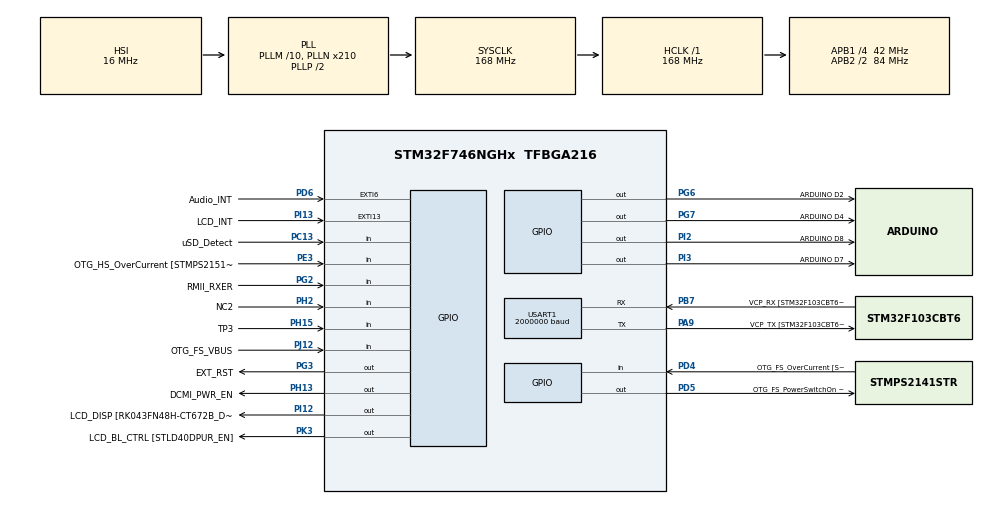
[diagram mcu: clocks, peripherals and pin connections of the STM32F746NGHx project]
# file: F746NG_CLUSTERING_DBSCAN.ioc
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Mcu.Family=STM32F7
Mcu.Name=STM32F746NGHx
Mcu.Package=TFBGA216
NVIC.PriorityGroup=NVIC_PRIORITYGROUP_4
PA0/WKUP.GPIO_Label=ARDUINO A0
PA0/WKUP.GPIO_Mode=GPIO_MODE_ANALOG
PA0/WKUP.GPIO_PuPd=GPIO_NOPULL
PA0/WKUP.Signal=ADCx_IN0
PA1.GPIO_Label=RMII_REF_CLK [LAN8742A-CZ-TR_REFCLK0]
PA1.Signal=ETH_REF_CLK
PA10.GPIO_Label=OTG_FS_ID
PA10.Signal=USB_OTG_FS_ID
PA11.GPIO_Label=OTG_FS_N
PA11.Signal=USB_OTG_FS_DM
PA12.GPIO_Label=OTG_FS_P
PA12.Signal=USB_OTG_FS_DP
PA13.GPIO_Label=SWDIO
PA13.Signal=SYS_JTMS-SWDIO
PA14.GPIO_Label=SWCLK
PA14.Signal=SYS_JTCK-SWCLK
PA15.GPIO_Label=ARDUINO PWM/D9
PA15.GPIO_ModeDefaultPP=GPIO_MODE_AF_PP
PA15.GPIO_PuPd=GPIO_NOPULL
PA15.GPIO_Speed=GPIO_SPEED_FREQ_LOW
PA15.Signal=S_TIM2_CH1_ETR
PA2.GPIO_Label=RMII_MDIO [LAN8742A-CZ-TR_MDIO]
PA2.Signal=ETH_MDIO
PA3.GPIO_Label=ULPI_D0 [USB3320C-EZK_D0]
PA3.Signal=USB_OTG_HS_ULPI_D0
PA4.GPIO_Label=DCMI_HSYNC
PA4.Signal=DCMI_HSYNC
PA5.GPIO_Label=ULPI_CLK [USB3320C-EZK_CLKOUT]
PA5.Signal=USB_OTG_HS_ULPI_CK
PA6.Signal=DCMI_PIXCLK
PA7.GPIO_Label=RMII_CRS_DV [LAN8742A-CZ-TR_CRS_DV]
PA7.Signal=ETH_CRS_DV
PA8.GPIO_Label=ARDUINO PWM/D10
PA8.GPIO_ModeDefaultPP=GPIO_MODE_AF_PP
PA8.GPIO_PuPd=GPIO_NOPULL
PA8.GPIO_Speed=GPIO_SPEED_FREQ_LOW
PA8.Signal=S_TIM1_CH1
PA9.GPIO_Label=VCP_TX [STM32F103CBT6_PA3]
PA9.GPIO_Mode=GPIO_MODE_AF_PP
PA9.GPIO_PuPd=GPIO_NOPULL
PA9.GPIO_Speed=GPIO_SPEED_FREQ_LOW
PA9.Mode=Asynchronous
PA9.Signal=USART1_TX
PB0.GPIO_Label=ULPI_D1 [USB3320C-EZK_D1]
PB0.Signal=USB_OTG_HS_ULPI_D1
PB1.GPIO_Label=ULPI_D2 [USB3320C-EZK_D2]
PB1.Signal=USB_OTG_HS_ULPI_D2
PB10.GPIO_Label=ULPI_D3 [USB3320C-EZK_D3]
PB10.Signal=USB_OTG_HS_ULPI_D3
PB11.GPIO_Label=ULPI_D4 [USB3320C-EZK_D4]
PB11.Signal=USB_OTG_HS_ULPI_D4
PB12.GPIO_Label=ULPI_D5 [USB3320C-EZK_D5]
PB12.Signal=USB_OTG_HS_ULPI_D5
PB13.GPIO_Label=ULPI_D6 [USB3320C-EZK_D6]
PB13.Signal=USB_OTG_HS_ULPI_D6
PB14.GPIO_Label=ARDUINO MISO/D12
PB14.GPIO_Mode=GPIO_MODE_AF_PP
PB14.GPIO_PuPd=GPIO_NOPULL
PB14.GPIO_Speed=GPIO_SPEED_FREQ_LOW
PB14.Signal=SPI2_MISO
PB15.GPIO_Label=ARDUINO MOSI/PWM/D11
PB15.GPIO_Mode=GPIO_MODE_AF_PP
PB15.GPIO_PuPd=GPIO_NOPULL
PB15.GPIO_Speed=GPIO_SPEED_FREQ_LOW
PB15.Signal=SPI2_MOSI
PB2.Signal=QUADSPI_CLK
PB3.GPIO_Label=SWO
PB3.Signal=SYS_JTDO-SWO
PB4.GPIO_Label=ARDUINO PWM/D3
PB4.GPIO_ModeDefaultPP=GPIO_MODE_AF_PP
PB4.GPIO_PuPd=GPIO_NOPULL
PB4.GPIO_Speed=GPIO_SPEED_FREQ_LOW
PB4.Signal=S_TIM3_CH1
PB5.GPIO_Label=ULPI_D7 [USB3320C-EZK_D7]
PB5.Signal=USB_OTG_HS_ULPI_D7
PB6.GPIO_Label=QSPI_NCS [N25Q128A13EF840E_S]
PB6.Signal=QUADSPI_BK1_NCS
PB7.GPIO_Label=VCP_RX [STM32F103CBT6_PA2]
PB7.GPIO_Mode=GPIO_MODE_AF_PP
PB7.GPIO_PuPd=GPIO_NOPULL
PB7.GPIO_Speed=GPIO_SPEED_FREQ_LOW
PB7.Mode=Asynchronous
PB7.Signal=USART1_RX
PB8.GPIO_Label=ARDUINO SCL/D15
PB8.GPIO_Mode=GPIO_MODE_AF_OD
PB8.GPIO_PuPd=GPIO_NOPULL
PB8.GPIO_Speed=GPIO_SPEED_FREQ_LOW
PB8.Signal=I2C1_SCL
PB9.GPIO_Label=ARDUINO SDA/D14
PB9.GPIO_Mode=GPIO_MODE_AF_OD
PB9.GPIO_PuPd=GPIO_NOPULL
PB9.GPIO_Speed=GPIO_SPEED_FREQ_LOW
PB9.Signal=I2C1_SDA
PC0.GPIO_Label=ULPI_STP [USB3320C-EZK_STP]
PC0.Signal=USB_OTG_HS_ULPI_STP
PC1.GPIO_Label=RMII_MDC [LAN8742A-CZ-TR_MDC]
PC1.Signal=ETH_MDC
PC10.GPIO_Label=SDMMC_D2
PC10.Signal=SDMMC1_D2
PC11.GPIO_Label=SDMMC_D3
PC11.Signal=SDMMC1_D3
PC12.GPIO_Label=SDMMC_CK
PC12.Signal=SDMMC1_CK
PC13.GPIO_Label=uSD_Detect
PC13.Signal=GPIO_Input
PC14/OSC32_IN.GPIO_Label=RCC_OSC32_IN
PC14/OSC32_IN.Signal=RCC_OSC32_IN
PC15/OSC32_OUT.GPIO_Label=RCC_OSC32_OUT
PC15/OSC32_OUT.Signal=RCC_OSC32_OUT
PC2.GPIO_Label=ULPI_DIR [USB3320C-EZK_DIR]
PC2.Signal=USB_OTG_HS_ULPI_DIR
PC3.GPIO_Label=FMC_SDCKE0 [MT48LC4M32B2B5-6A_CKE]
PC3.Signal=FMC_SDCKE0
PC4.GPIO_Label=RMII_RXD0 [LAN8742A-CZ-TR_RXD0]
PC4.Signal=ETH_RXD0
PC5.GPIO_Label=RMII_RXD1 [LAN8742A-CZ-TR_RXD1]
PC5.Signal=ETH_RXD1
PC6.GPIO_Label=ARDUINO TX/D1
PC6.Signal=USART6_TX
PC7.GPIO_Label=ARDUINO RX/D0
PC7.Signal=USART6_RX
PC8.Signal=SDMMC1_D0
PC9.Signal=SDMMC1_D1
PD0.GPIO_Label=FMC_D2 [MT48LC4M32B2B5-6A_DQ2]
PD0.Signal=FMC_D2_DA2
PD1.GPIO_Label=FMC_D3 [MT48LC4M32B2B5-6A_DQ3]
PD1.Signal=FMC_D3_DA3
PD10.GPIO_Label=FMC_D15 [MT48LC4M32B2B5-6A_DQ15]
PD10.Signal=FMC_D15_DA15
PD11.GPIO_Label=QSPI_D0 [N25Q128A13EF840E_DQ0]
PD11.Signal=QUADSPI_BK1_IO0
PD12.GPIO_Label=QSPI_D1 [N25Q128A13EF840E_DQ1]
PD12.Signal=QUADSPI_BK1_IO1
PD13.GPIO_Label=QSPI_D3 [N25Q128A13EF840E_DQ3]
PD13.Signal=QUADSPI_BK1_IO3
PD14.GPIO_Label=FMC_D0 [MT48LC4M32B2B5-6A_DQ0]
PD14.Signal=FMC_D0_DA0
PD15.GPIO_Label=FMC_D1 [MT48LC4M32B2B5-6A_DQ1]
PD15.Signal=FMC_D1_DA1
PD2.GPIO_Label=SDMMC_D0
PD2.Signal=SDMMC1_CMD
PD3.GPIO_Label=DCMI_D5
PD3.Signal=DCMI_D5
PD4.GPIO_Label=OTG_FS_OverCurrent [STMPS2141STR_Fault]
PD4.Signal=GPIO_Input
PD5.GPIO_Label=OTG_FS_PowerSwitchOn [STMPS2141STR_EN]
PD5.PinState=GPIO_PIN_SET
PD5.Signal=GPIO_Output
PD6.GPIO_Label=Audio_INT
PD6.GPIO_ModeDefaultEXTI=GPIO_MODE_EVT_RISING
PD6.Signal=GPXTI6
PD7.GPIO_Label=SPDIF_RX0 [74LVC1G04SE_4]
PD7.Signal=SPDIFRX_IN0
PD8.GPIO_Label=FMC_D13 [MT48LC4M32B2B5-6A_DQ13]
PD8.Signal=FMC_D13_DA13
PD9.GPIO_Label=FMC_D14 [MT48LC4M32B2B5-6A_DQ14]
PD9.Signal=FMC_D14_DA14
PE0.GPIO_Label=FMC_NBL0 [MT48LC4M32B2B5-6A_DQM0]
PE0.Signal=FMC_NBL0
PE1.GPIO_Label=FMC_NBL1 [MT48LC4M32B2B5-6A_DQM1]
PE1.Signal=FMC_NBL1
PE10.GPIO_Label=FMC_D7 [MT48LC4M32B2B5-6A_DQ7]
PE10.Signal=FMC_D7_DA7
PE11.GPIO_Label=FMC_D8 [MT48LC4M32B2B5-6A_DQ8]
PE11.Signal=FMC_D8_DA8
PE12.GPIO_Label=FMC_D9 [MT48LC4M32B2B5-6A_DQ9]
PE12.Signal=FMC_D9_DA9
PE13.GPIO_Label=FMC_D10 [MT48LC4M32B2B5-6A_DQ10]
PE13.Signal=FMC_D10_DA10
PE14.GPIO_Label=FMC_D11 [MT48LC4M32B2B5-6A_DQ11]
PE14.Signal=FMC_D11_DA11
PE15.GPIO_Label=FMC_D12 [MT48LC4M32B2B5-6A_DQ12]
PE15.Signal=FMC_D12_DA12
PE2.GPIO_Label=QSPI_D2 [N25Q128A13EF840E_DQ2]
PE2.Signal=QUADSPI_BK1_IO2
PE3.GPIO_Label=OTG_HS_OverCurrent [STMPS2151STR_FAULT]
PE3.Signal=GPIO_Input
PE4.GPIO_Label=LCD_B0 [RK043FN48H-CT672B_B0]
PE4.Signal=LTDC_B0
PE5.GPIO_Label=DCMI_D6
PE5.Signal=DCMI_D6
PE6.GPIO_Label=DCMI_D7
PE6.Signal=DCMI_D7
PE7.GPIO_Label=FMC_D4 [MT48LC4M32B2B5-6A_DQ4]
PE7.Signal=FMC_D4_DA4
PE8.GPIO_Label=FMC_D5 [MT48LC4M32B2B5-6A_DQ5]
PE8.Signal=FMC_D5_DA5
PE9.GPIO_Label=FMC_D6 [MT48LC4M32B2B5-6A_DQ6]
PE9.Signal=FMC_D6_DA6
PF0.GPIO_Label=FMC_A0 [MT48LC4M32B2B5-6A_A0]
PF0.Signal=FMC_A0
PF1.GPIO_Label=FMC_A1 [MT48LC4M32B2B5-6A_A1]
PF1.Signal=FMC_A1
PF10.GPIO_Label=ARDUINO A1
PF10.GPIO_Mode=GPIO_MODE_ANALOG
PF10.GPIO_PuPd=GPIO_NOPULL
PF10.Signal=ADC3_IN8
PF11.GPIO_Label=FMC_SDNRAS [MT48LC4M32B2B5-6A_RAS]
PF11.Signal=FMC_SDNRAS
PF12.GPIO_Label=FMC_A6 [MT48LC4M32B2B5-6A_A6]
PF12.Signal=FMC_A6
PF13.GPIO_Label=FMC_A7 [MT48LC4M32B2B5-6A_A7]
PF13.Signal=FMC_A7
PF14.GPIO_Label=FMC_A8 [MT48LC4M32B2B5-6A_A8]
PF14.Signal=FMC_A8
PF15.GPIO_Label=FMC_A9 [MT48LC4M32B2B5-6A_A9]
PF15.Signal=FMC_A9
PF2.GPIO_Label=FMC_A2 [MT48LC4M32B2B5-6A_A2]
PF2.Signal=FMC_A2
PF3.GPIO_Label=FMC_A3 [MT48LC4M32B2B5-6A_A3]
PF3.Signal=FMC_A3
PF4.GPIO_Label=FMC_A4 [MT48LC4M32B2B5-6A_A4]
PF4.Signal=FMC_A4
PF5.GPIO_Label=FMC_A5 [MT48LC4M32B2B5-6A_A5]
PF5.Signal=FMC_A5
PF6.GPIO_Label=ARDUINO A5
PF6.GPIO_Mode=GPIO_MODE_ANALOG
PF6.GPIO_PuPd=GPIO_NOPULL
PF6.Signal=ADC3_IN4
PF7.GPIO_Label=ARDUINO A4
PF7.GPIO_Mode=GPIO_MODE_ANALOG
PF7.GPIO_PuPd=GPIO_NOPULL
PF7.Signal=ADC3_IN5
PF8.GPIO_Label=ARDUINO A3
PF8.GPIO_Mode=GPIO_MODE_ANALOG
PF8.GPIO_PuPd=GPIO_NOPULL
PF8.Signal=ADC3_IN6
PF9.GPIO_Label=ARDUINO A2
PF9.GPIO_Mode=GPIO_MODE_ANALOG
PF9.GPIO_PuPd=GPIO_NOPULL
PF9.Signal=ADC3_IN7
PG0.GPIO_Label=FMC_A10 [MT48LC4M32B2B5-6A_A10]
PG0.Signal=FMC_A10
PG1.GPIO_Label=FMC_A11 [MT48LC4M32B2B5-6A_A11]
PG1.Signal=FMC_A11
PG10.GPIO_Label=SAI2_SDB [WM8994ECS/R_ADCDAT1]
PG10.Signal=SAI2_SD_B
PG11.GPIO_Label=RMII_TX_EN [LAN8742A-CZ-TR_TXEN]
PG11.Signal=ETH_TX_EN
PG12.GPIO_Label=LCD_B4 [RK043FN48H-CT672B_B4]
PG12.Signal=LTDC_B4
PG13.GPIO_Label=RMII_TXD0 [LAN8742A-CZ-TR_TXD0]
PG13.Signal=ETH_TXD0
PG14.GPIO_Label=RMII_TXD1 [LAN8742A-CZ-TR_TXD1]
PG14.Signal=ETH_TXD1
PG15.GPIO_Label=FMC_SDNCAS [MT48LC4M32B2B5-6A_CAS]
PG15.Signal=FMC_SDNCAS
PG2.GPIO_Label=RMII_RXER
PG2.Signal=GPIO_Input
PG3.GPIO_Label=EXT_RST
PG3.Signal=GPIO_Output
PG4.GPIO_Label=FMC_BA0 [MT48LC4M32B2B5-6A_BA0]
PG4.Signal=FMC_A14_BA0
PG5.GPIO_Label=FMC_BA1 [MT48LC4M32B2B5-6A_BA1]
PG5.Signal=FMC_A15_BA1
PG6.GPIO_Label=ARDUINO D2
PG6.Signal=GPIO_Output
PG7.GPIO_Label=ARDUINO D4
PG7.Signal=GPIO_Output
PG8.GPIO_Label=FMC_SDCLK [MT48LC4M32B2B5-6A_CLK]
PG8.Signal=FMC_SDCLK
PG9.GPIO_Label=DCMI_VSYNC
PG9.Signal=DCMI_VSYNC
PH0/OSC_IN.GPIO_Label=OSC_25M [NZ2520SB-25.00M_OUT]
PH0/OSC_IN.Signal=RCC_OSC_IN
PH1/OSC_OUT.Signal=RCC_OSC_OUT
PH10.GPIO_Label=DCMI_D1
PH10.Signal=DCMI_D1
PH11.GPIO_Label=DCMI_D2
PH11.Signal=DCMI_D2
PH12.GPIO_Label=DCMI_D3
PH12.Signal=DCMI_D3
PH13.GPIO_Label=DCMI_PWR_EN
PH13.Signal=GPIO_Output
PH14.GPIO_Label=DCMI_D4
PH14.Signal=DCMI_D4
PH15.GPIO_Label=TP3
PH15.Signal=GPIO_Input
PH2.GPIO_Label=NC2
PH2.Signal=GPIO_Input
PH3.GPIO_Label=FMC_SDNE0 [MT48LC4M32B2B5-6A_CS]
PH3.Signal=FMC_SDNE0
PH4.GPIO_Label=ULPI_NXT [USB3320C-EZK_NXT]
PH4.Signal=USB_OTG_HS_ULPI_NXT
PH5.GPIO_Label=FMC_SDNME [MT48LC4M32B2B5-6A_WE]
PH5.Signal=FMC_SDNWE
PH6.GPIO_Label=ARDUINO PWM/D6
PH6.Signal=S_TIM12_CH1
PH7.GPIO_Label=LCD_SCL [RK043FN48H-CT672B_SCL]
PH7.Signal=I2C3_SCL
PH8.GPIO_Label=LCD_SDA [RK043FN48H-CT672B_SDA]
PH8.Signal=I2C3_SDA
PH9.GPIO_Label=DCMI_D0
PH9.Signal=DCMI_D0
PI0.GPIO_Label=ARDUINO PWM/CS/D5
PI0.GPIO_ModeDefaultPP=GPIO_MODE_AF_PP
PI0.GPIO_PuPd=GPIO_NOPULL
PI0.GPIO_Speed=GPIO_SPEED_FREQ_LOW
PI0.Signal=S_TIM5_CH4
PI1.GPIO_Label=ARDUINO SCK/D13
PI1.GPIO_Mode=GPIO_MODE_AF_PP
PI1.GPIO_PuPd=GPIO_NOPULL
PI1.GPIO_Speed=GPIO_SPEED_FREQ_LOW
PI1.Signal=SPI2_SCK
PI10.GPIO_Label=LCD_HSYNC [RK043FN48H-CT672B_HSYNC]
PI10.Signal=LTDC_HSYNC
PI12.GPIO_Label=LCD_DISP [RK043FN48H-CT672B_DISP] 
PI12.Signal=GPIO_Output
PI13.GPIO_Label=LCD_INT
PI13.GPIO_ModeDefaultEXTI=GPIO_MODE_EVT_RISING
PI13.Signal=GPXTI13
PI14.GPIO_Label=LCD_CLK [RK043FN48H-CT672B_CLK]
PI14.Signal=LTDC_CLK
PI15.GPIO_Label=LCD_R0 [RK043FN48H-CT672B_R0]
PI15.Signal=LTDC_R0
PI2.GPIO_Label=ARDUINO D8
PI2.Signal=GPIO_Output
PI3.GPIO_Label=ARDUINO D7
PI3.Signal=GPIO_Output
PI4.GPIO_Label=SAI2_MCLKA [WM8994ECS/R_MCLK1]
PI4.Signal=SAI2_MCLK_A
PI5.GPIO_Label=SAI2_SCKA [WM8994ECS/R_BCLK1]
PI5.Signal=SAI2_SCK_A
PI6.GPIO_Label=SAI2_SDA [WM8994ECS/R_DACDAT1]
PI6.Signal=SAI2_SD_A
PI7.GPIO_Label=SAI2_FSA [WM8994ECS/R_LRCLK1]
PI7.Signal=SAI2_FS_A
PI8.GPIO_Label=NC1 [TP2]
PI8.Signal=RTC_TS
PI9.GPIO_Label=LCD_VSYNC [RK043FN48H-CT672B_VSYNC]
PI9.Signal=LTDC_VSYNC
PJ0.GPIO_Label=LCD_R1 [RK043FN48H-CT672B_R1]
PJ0.Signal=LTDC_R1
PJ1.GPIO_Label=LCD_R2 [RK043FN48H-CT672B_R2]
PJ1.Signal=LTDC_R2
PJ10.GPIO_Label=LCD_G3 [RK043FN48H-CT672B_G3]
PJ10.Signal=LTDC_G3
PJ11.GPIO_Label=LCD_G4 [RK043FN48H-CT672B_G4]
PJ11.Signal=LTDC_G4
PJ12.GPIO_Label=OTG_FS_VBUS
PJ12.Signal=GPIO_Input
PJ13.GPIO_Label=LCD_B1 [RK043FN48H-CT672B_B1]
PJ13.Signal=LTDC_B1
PJ14.GPIO_Label=LCD_B2 [RK043FN48H-CT672B_B2]
PJ14.Signal=LTDC_B2
PJ15.GPIO_Label=LCD_B3 [RK043FN48H-CT672B_B3]
PJ15.Signal=LTDC_B3
PJ2.GPIO_Label=LCD_R3 [RK043FN48H-CT672B_R3]
PJ2.Signal=LTDC_R3
PJ3.GPIO_Label=LCD_R4 [RK043FN48H-CT672B_R4]
PJ3.Signal=LTDC_R4
PJ4.GPIO_Label=LCD_R5 [RK043FN48H-CT672B_R5]
PJ4.Signal=LTDC_R5
PJ5.GPIO_Label=LCD_R6 [RK043FN48H-CT672B_R6]
PJ5.Signal=LTDC_R6
PJ6.GPIO_Label=LCD_R7 [RK043FN48H-CT672B_R7]
PJ6.Signal=LTDC_R7
PJ7.GPIO_Label=LCD_G0 [RK043FN48H-CT672B_G0]
PJ7.Signal=LTDC_G0
PJ8.GPIO_Label=LCD_G1 [RK043FN48H-CT672B_G1]
PJ8.Signal=LTDC_G1
PJ9.GPIO_Label=LCD_G2 [RK043FN48H-CT672B_G2]
PJ9.Signal=LTDC_G2
PK0.GPIO_Label=LCD_G5 [RK043FN48H-CT672B_G5]
PK0.Signal=LTDC_G5
PK1.GPIO_Label=LCD_G6 [RK043FN48H-CT672B_G6]
PK1.Signal=LTDC_G6
PK2.GPIO_Label=LCD_G7 [RK043FN48H-CT672B_G7]
PK2.Signal=LTDC_G7
PK3.GPIO_Label=LCD_BL_CTRL [STLD40DPUR_EN]
PK3.Signal=GPIO_Output
PK4.GPIO_Label=LCD_B5 [RK043FN48H-CT672B_B5]
PK4.Signal=LTDC_B5
PK5.GPIO_Label=LCD_B6 [RK043FN48H-CT672B_B6]
PK5.Signal=LTDC_B6
PK6.GPIO_Label=LCD_B7 [RK043FN48H-CT672B_B7]
PK6.Signal=LTDC_B7
PK7.GPIO_Label=LCD_DE [RK043FN48H-CT672B_DE]
PK7.Signal=LTDC_DE
ProjectManager.HeapSize=0x200
ProjectManager.StackSize=0x400
ProjectManager.TargetToolchain=STM32CubeIDE
RCC.AHBFreq_Value=168000000
RCC.APB1CLKDivider=RCC_HCLK_DIV4
RCC.APB1Freq_Value=42000000
RCC.APB1TimFreq_Value=84000000
RCC.APB2CLKDivider=RCC_HCLK_DIV2
RCC.APB2Freq_Value=84000000
RCC.APB2TimFreq_Value=168000000
RCC.CortexFreq_Value=168000000
RCC.HCLKFreq_Value=168000000
RCC.HSE_VALUE=25000000
RCC.HSI_VALUE=16000000
RCC.LSE_VALUE=32768
RCC.PLLM=10
RCC.PLLN=210
RCC.PLLQ=7
RCC.PLLSourceVirtual=RCC_PLLSOURCE_HSI
RCC.SYSCLKFreq_VALUE=168000000
RCC.SYSCLKSource=RCC_SYSCLKSOURCE_PLLCLK
RCC.USBFreq_Value=48000000
RCC.VCOOutputFreq_Value=336000000
SH.ADCx_IN0.0=ADC3_IN0
SH.FMC_A0.0=FMC_A0
SH.FMC_A1.0=FMC_A1
SH.FMC_A10.0=FMC_A10
SH.FMC_A11.0=FMC_A11
SH.FMC_A14_BA0.0=FMC_BA0
SH.FMC_A15_BA1.0=FMC_BA1
SH.FMC_A2.0=FMC_A2
SH.FMC_A3.0=FMC_A3
SH.FMC_A4.0=FMC_A4
SH.FMC_A5.0=FMC_A5
SH.FMC_A6.0=FMC_A6
SH.FMC_A7.0=FMC_A7
SH.FMC_A8.0=FMC_A8
SH.FMC_A9.0=FMC_A9
SH.FMC_D0_DA0.0=FMC_D0
SH.FMC_D10_DA10.0=FMC_D10
SH.FMC_D11_DA11.0=FMC_D11
SH.FMC_D12_DA12.0=FMC_D12
SH.FMC_D13_DA13.0=FMC_D13
SH.FMC_D14_DA14.0=FMC_D14
SH.FMC_D15_DA15.0=FMC_D15
SH.FMC_D1_DA1.0=FMC_D1
SH.FMC_D2_DA2.0=FMC_D2
SH.FMC_D3_DA3.0=FMC_D3
SH.FMC_D4_DA4.0=FMC_D4
SH.FMC_D5_DA5.0=FMC_D5
SH.FMC_D6_DA6.0=FMC_D6
SH.FMC_D7_DA7.0=FMC_D7
SH.FMC_D8_DA8.0=FMC_D8
SH.FMC_D9_DA9.0=FMC_D9
SH.FMC_NBL0.0=FMC_NBL0
SH.FMC_NBL1.0=FMC_NBL1
SH.FMC_SDCLK.0=FMC_SDCLK
SH.FMC_SDNCAS.0=FMC_SDNCAS
SH.FMC_SDNRAS.0=FMC_SDNRAS
SH.FMC_SDNWE.0=FMC_SDNWE
SH.S_TIM12_CH1.0=TIM12_CH1
SH.S_TIM1_CH1.0=TIM1_CH1
SH.S_TIM2_CH1_ETR.0=TIM2_CH1
SH.S_TIM3_CH1.0=TIM3_CH1
SH.S_TIM5_CH4.0=TIM5_CH4
USART1.BaudRate=2000000
USART1.VirtualMode-Asynchronous=VM_ASYNC
VP_RNG_VS_RNG.Mode=RNG_Activate
board=STM32F746G-DISCO

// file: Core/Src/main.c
/* USER CODE BEGIN Header */
/**
  ******************************************************************************
  * @file           : main.c
  * @brief          : Main program body
  ******************************************************************************
  * @attention
  *
  * Copyright (c) 2024 STMicroelectronics.
  * All rights reserved.
  *
  * This software is licensed under terms that can be found in the LICENSE file
  * in the root directory of this software component.
  * If no LICENSE file comes with this software, it is provided AS-IS.
  *
  ******************************************************************************
  */
/* USER CODE END Header */
#include "main.h"

/* USER CODE BEGIN Includes */
#include "dbscan_clus_inference.h"
#include "lib_serial.h"
#include "lib_rng.h"
/* USER CODE END Includes */

RNG_HandleTypeDef hrng;

UART_HandleTypeDef huart1;

void SystemClock_Config(void);
static void MX_GPIO_Init(void);
static void MX_RNG_Init(void);
static void MX_USART1_UART_Init(void);

/* USER CODE BEGIN 0 */
#define INPUT_PC		1
#define INPUT_MCU		2
#define INPUT			INPUT_PC

#define SIZE_INPUT 		NUM_FEATURES
#define SIZE_OUTPUT 	1

float input[SIZE_INPUT];
int32_t output[SIZE_OUTPUT];

/* USER CODE END 0 */

int main(void)
{

  /* MCU Configuration--------------------------------------------------------*/

  /* Reset of all peripherals, Initializes the Flash interface and the Systick. */
  HAL_Init();

  /* Configure the system clock */
  SystemClock_Config();

  /* Initialize all configured peripherals */
  MX_GPIO_Init();
  MX_RNG_Init();
  MX_USART1_UART_Init();

  /* Infinite loop */
  while (1)
  {

    /* USER CODE BEGIN 3 */
#if (INPUT == INPUT_PC)
	  LIB_SERIAL_Receive(input, SIZE_INPUT, TYPE_F32);
#elif (INPUT == INPUT_MCU)
	  for (uint32_t i = 0; i < SIZE_INPUT; ++i)
		input[i] = (float)(LIB_RNG_GetRandomNumber() % 1000) / 1000.0f;

	LIB_SERIAL_Transmit(input, SIZE_INPUT, TYPE_F32);
#endif
	dbscan_clus_predict(input, output);
	LIB_SERIAL_Transmit(output, SIZE_OUTPUT, TYPE_S32);
	HAL_Delay(1000);
  }
  /* USER CODE END 3 */
}

void SystemClock_Config(void)
{
  RCC_OscInitTypeDef RCC_OscInitStruct = {0};
  RCC_ClkInitTypeDef RCC_ClkInitStruct = {0};

  /** Configure the main internal regulator output voltage
  */
  __HAL_RCC_PWR_CLK_ENABLE();
  __HAL_PWR_VOLTAGESCALING_CONFIG(PWR_REGULATOR_VOLTAGE_SCALE2);
  /** Initializes the RCC Oscillators according to the specified parameters
  * in the RCC_OscInitTypeDef structure.
  */
  RCC_OscInitStruct.OscillatorType = RCC_OSCILLATORTYPE_HSI;
  RCC_OscInitStruct.HSIState = RCC_HSI_ON;
  RCC_OscInitStruct.HSICalibrationValue = RCC_HSICALIBRATION_DEFAULT;
  RCC_OscInitStruct.PLL.PLLState = RCC_PLL_ON;
  RCC_OscInitStruct.PLL.PLLSource = RCC_PLLSOURCE_HSI;
  RCC_OscInitStruct.PLL.PLLM = 10;
  RCC_OscInitStruct.PLL.PLLN = 210;
  RCC_OscInitStruct.PLL.PLLP = RCC_PLLP_DIV2;
  RCC_OscInitStruct.PLL.PLLQ = 7;
  if (HAL_RCC_OscConfig(&RCC_OscInitStruct) != HAL_OK)
  {
    Error_Handler();
  }
  /** Initializes the CPU, AHB and APB buses clocks
  */
  RCC_ClkInitStruct.ClockType = RCC_CLOCKTYPE_HCLK|RCC_CLOCKTYPE_SYSCLK
                              |RCC_CLOCKTYPE_PCLK1|RCC_CLOCKTYPE_PCLK2;
  RCC_ClkInitStruct.SYSCLKSource = RCC_SYSCLKSOURCE_PLLCLK;
  RCC_ClkInitStruct.AHBCLKDivider = RCC_SYSCLK_DIV1;
  RCC_ClkInitStruct.APB1CLKDivider = RCC_HCLK_DIV4;
  RCC_ClkInitStruct.APB2CLKDivider = RCC_HCLK_DIV2;

  if (HAL_RCC_ClockConfig(&RCC_ClkInitStruct, FLASH_LATENCY_5) != HAL_OK)
  {
    Error_Handler();
  }
}

static void MX_RNG_Init(void)
{

  hrng.Instance = RNG;
  if (HAL_RNG_Init(&hrng) != HAL_OK)
  {
    Error_Handler();
  }

}

static void MX_USART1_UART_Init(void)
{

  huart1.Instance = USART1;
  huart1.Init.BaudRate = 2000000;
  huart1.Init.WordLength = UART_WORDLENGTH_8B;
  huart1.Init.StopBits = UART_STOPBITS_1;
  huart1.Init.Parity = UART_PARITY_NONE;
  huart1.Init.Mode = UART_MODE_TX_RX;
  huart1.Init.HwFlowCtl = UART_HWCONTROL_NONE;
  huart1.Init.OverSampling = UART_OVERSAMPLING_16;
  huart1.Init.OneBitSampling = UART_ONE_BIT_SAMPLE_DISABLE;
  huart1.AdvancedInit.AdvFeatureInit = UART_ADVFEATURE_NO_INIT;
  if (HAL_UART_Init(&huart1) != HAL_OK)
  {
    Error_Handler();
  }

}

static void MX_GPIO_Init(void)
{
  GPIO_InitTypeDef GPIO_InitStruct = {0};

  /* GPIO Ports Clock Enable */
  __HAL_RCC_GPIOE_CLK_ENABLE();
  __HAL_RCC_GPIOG_CLK_ENABLE();
  __HAL_RCC_GPIOB_CLK_ENABLE();
  __HAL_RCC_GPIOD_CLK_ENABLE();
  __HAL_RCC_GPIOC_CLK_ENABLE();
  __HAL_RCC_GPIOA_CLK_ENABLE();
  __HAL_RCC_GPIOJ_CLK_ENABLE();
  __HAL_RCC_GPIOI_CLK_ENABLE();
  __HAL_RCC_GPIOK_CLK_ENABLE();
  __HAL_RCC_GPIOF_CLK_ENABLE();
  __HAL_RCC_GPIOH_CLK_ENABLE();

  /*Configure GPIO pin Output Level */
  HAL_GPIO_WritePin(OTG_FS_PowerSwitchOn_GPIO_Port, OTG_FS_PowerSwitchOn_Pin, GPIO_PIN_SET);

  /*Configure GPIO pin Output Level */
  HAL_GPIO_WritePin(GPIOI, ARDUINO_D7_Pin|ARDUINO_D8_Pin|LCD_DISP_Pin, GPIO_PIN_RESET);

  /*Configure GPIO pin Output Level */
  HAL_GPIO_WritePin(LCD_BL_CTRL_GPIO_Port, LCD_BL_CTRL_Pin, GPIO_PIN_RESET);

  /*Configure GPIO pin Output Level */
  HAL_GPIO_WritePin(DCMI_PWR_EN_GPIO_Port, DCMI_PWR_EN_Pin, GPIO_PIN_RESET);

  /*Configure GPIO pin Output Level */
  HAL_GPIO_WritePin(GPIOG, ARDUINO_D4_Pin|ARDUINO_D2_Pin|EXT_RST_Pin, GPIO_PIN_RESET);

  /*Configure GPIO pin : LCD_B0_Pin */
  GPIO_InitStruct.Pin = LCD_B0_Pin;
  GPIO_InitStruct.Mode = GPIO_MODE_AF_PP;
  GPIO_InitStruct.Pull = GPIO_NOPULL;
  GPIO_InitStruct.Speed = GPIO_SPEED_FREQ_LOW;
  GPIO_InitStruct.Alternate = GPIO_AF14_LTDC;
  HAL_GPIO_Init(LCD_B0_GPIO_Port, &GPIO_InitStruct);

  /*Configure GPIO pin : OTG_HS_OverCurrent_Pin */
  GPIO_InitStruct.Pin = OTG_HS_OverCurrent_Pin;
  GPIO_InitStruct.Mode = GPIO_MODE_INPUT;
  GPIO_InitStruct.Pull = GPIO_NOPULL;
  HAL_GPIO_Init(OTG_HS_OverCurrent_GPIO_Port, &GPIO_InitStruct);

  /*Configure GPIO pin : QSPI_D2_Pin */
  GPIO_InitStruct.Pin = QSPI_D2_Pin;
  GPIO_InitStruct.Mode = GPIO_MODE_AF_PP;
  GPIO_InitStruct.Pull = GPIO_NOPULL;
  GPIO_InitStruct.Speed = GPIO_SPEED_FREQ_VERY_HIGH;
  GPIO_InitStruct.Alternate = GPIO_AF9_QUADSPI;
  HAL_GPIO_Init(QSPI_D2_GPIO_Port, &GPIO_InitStruct);

  /*Configure GPIO pins : RMII_TXD1_Pin RMII_TXD0_Pin RMII_TX_EN_Pin */
  GPIO_InitStruct.Pin = RMII_TXD1_Pin|RMII_TXD0_Pin|RMII_TX_EN_Pin;
  GPIO_InitStruct.Mode = GPIO_MODE_AF_PP;
  GPIO_InitStruct.Pull = GPIO_NOPULL;
  GPIO_InitStruct.Speed = GPIO_SPEED_FREQ_VERY_HIGH;
  GPIO_InitStruct.Alternate = GPIO_AF11_ETH;
  HAL_GPIO_Init(GPIOG, &GPIO_InitStruct);

  /*Configure GPIO pins : FMC_NBL1_Pin FMC_NBL0_Pin FMC_D5_Pin FMC_D6_Pin
                           FMC_D8_Pin FMC_D11_Pin FMC_D4_Pin FMC_D7_Pin
                           FMC_D9_Pin FMC_D12_Pin FMC_D10_Pin */
  GPIO_InitStruct.Pin = FMC_NBL1_Pin|FMC_NBL0_Pin|FMC_D5_Pin|FMC_D6_Pin
                          |FMC_D8_Pin|FMC_D11_Pin|FMC_D4_Pin|FMC_D7_Pin
                          |FMC_D9_Pin|FMC_D12_Pin|FMC_D10_Pin;
  GPIO_InitStruct.Mode = GPIO_MODE_AF_PP;
  GPIO_InitStruct.Pull = GPIO_NOPULL;
  GPIO_InitStruct.Speed = GPIO_SPEED_FREQ_VERY_HIGH;
  GPIO_InitStruct.Alternate = GPIO_AF12_FMC;
  HAL_GPIO_Init(GPIOE, &GPIO_InitStruct);

  /*Configure GPIO pins : ARDUINO_SCL_D15_Pin ARDUINO_SDA_D14_Pin */
  GPIO_InitStruct.Pin = ARDUINO_SCL_D15_Pin|ARDUINO_SDA_D14_Pin;
  GPIO_InitStruct.Mode = GPIO_MODE_AF_OD;
  GPIO_InitStruct.Pull = GPIO_NOPULL;
  GPIO_InitStruct.Speed = GPIO_SPEED_FREQ_LOW;
  GPIO_InitStruct.Alternate = GPIO_AF4_I2C1;
  HAL_GPIO_Init(GPIOB, &GPIO_InitStruct);

  /*Configure GPIO pins : ULPI_D7_Pin ULPI_D6_Pin ULPI_D5_Pin ULPI_D3_Pin
                           ULPI_D2_Pin ULPI_D1_Pin ULPI_D4_Pin */
  GPIO_InitStruct.Pin = ULPI_D7_Pin|ULPI_D6_Pin|ULPI_D5_Pin|ULPI_D3_Pin
                          |ULPI_D2_Pin|ULPI_D1_Pin|ULPI_D4_Pin;
  GPIO_InitStruct.Mode = GPIO_MODE_AF_PP;
  GPIO_InitStruct.Pull = GPIO_NOPULL;
  GPIO_InitStruct.Speed = GPIO_SPEED_FREQ_VERY_HIGH;
  GPIO_InitStruct.Alternate = GPIO_AF10_OTG_HS;
  HAL_GPIO_Init(GPIOB, &GPIO_InitStruct);

  /*Configure GPIO pin : ARDUINO_PWM_D3_Pin */
  GPIO_InitStruct.Pin = ARDUINO_PWM_D3_Pin;
  GPIO_InitStruct.Mode = GPIO_MODE_AF_PP;
  GPIO_InitStruct.Pull = GPIO_NOPULL;
  GPIO_InitStruct.Speed = GPIO_SPEED_FREQ_LOW;
  GPIO_InitStruct.Alternate = GPIO_AF2_TIM3;
  HAL_GPIO_Init(ARDUINO_PWM_D3_GPIO_Port, &GPIO_InitStruct);

  /*Configure GPIO pin : SPDIF_RX0_Pin */
  GPIO_InitStruct.Pin = SPDIF_RX0_Pin;
  GPIO_InitStruct.Mode = GPIO_MODE_AF_PP;
  GPIO_InitStruct.Pull = GPIO_NOPULL;
  GPIO_InitStruct.Speed = GPIO_SPEED_FREQ_LOW;
  GPIO_InitStruct.Alternate = GPIO_AF8_SPDIFRX;
  HAL_GPIO_Init(SPDIF_RX0_GPIO_Port, &GPIO_InitStruct);

  /*Configure GPIO pins : SDMMC_CK_Pin SDMMC_D3_Pin SDMMC_D2_Pin PC9
                           PC8 */
  GPIO_InitStruct.Pin = SDMMC_CK_Pin|SDMMC_D3_Pin|SDMMC_D2_Pin|GPIO_PIN_9
                          |GPIO_PIN_8;
  GPIO_InitStruct.Mode = GPIO_MODE_AF_PP;
  GPIO_InitStruct.Pull = GPIO_NOPULL;
  GPIO_InitStruct.Speed = GPIO_SPEED_FREQ_VERY_HIGH;
  GPIO_InitStruct.Alternate = GPIO_AF12_SDMMC1;
  HAL_GPIO_Init(GPIOC, &GPIO_InitStruct);

  /*Configure GPIO pin : ARDUINO_PWM_D9_Pin */
  GPIO_InitStruct.Pin = ARDUINO_PWM_D9_Pin;
  GPIO_InitStruct.Mode = GPIO_MODE_AF_PP;
  GPIO_InitStruct.Pull = GPIO_NOPULL;
  GPIO_InitStruct.Speed = GPIO_SPEED_FREQ_LOW;
  GPIO_InitStruct.Alternate = GPIO_AF1_TIM2;
  HAL_GPIO_Init(ARDUINO_PWM_D9_GPIO_Port, &GPIO_InitStruct);

  /*Configure GPIO pins : DCMI_D6_Pin DCMI_D7_Pin */
  GPIO_InitStruct.Pin = DCMI_D6_Pin|DCMI_D7_Pin;
  GPIO_InitStruct.Mode = GPIO_MODE_AF_PP;
  GPIO_InitStruct.Pull = GPIO_NOPULL;
  GPIO_InitStruct.Speed = GPIO_SPEED_FREQ_LOW;
  GPIO_InitStruct.Alternate = GPIO_AF13_DCMI;
  HAL_GPIO_Init(GPIOE, &GPIO_InitStruct);

  /*Configure GPIO pin : QSPI_NCS_Pin */
  GPIO_InitStruct.Pin = QSPI_NCS_Pin;
  GPIO_InitStruct.Mode = GPIO_MODE_AF_PP;
  GPIO_InitStruct.Pull = GPIO_NOPULL;
  GPIO_InitStruct.Speed = GPIO_SPEED_FREQ_VERY_HIGH;
  GPIO_InitStruct.Alternate = GPIO_AF10_QUADSPI;
  HAL_GPIO_Init(QSPI_NCS_GPIO_Port, &GPIO_InitStruct);

  /*Configure GPIO pins : FMC_SDNCAS_Pin FMC_SDCLK_Pin FMC_A11_Pin FMC_A10_Pin
                           FMC_BA1_Pin FMC_BA0_Pin */
  GPIO_InitStruct.Pin = FMC_SDNCAS_Pin|FMC_SDCLK_Pin|FMC_A11_Pin|FMC_A10_Pin
                          |FMC_BA1_Pin|FMC_BA0_Pin;
  GPIO_InitStruct.Mode = GPIO_MODE_AF_PP;
  GPIO_InitStruct.Pull = GPIO_NOPULL;
  GPIO_InitStruct.Speed = GPIO_SPEED_FREQ_VERY_HIGH;
  GPIO_InitStruct.Alternate = GPIO_AF12_FMC;
  HAL_GPIO_Init(GPIOG, &GPIO_InitStruct);

  /*Configure GPIO pins : LCD_B1_Pin LCD_B2_Pin LCD_B3_Pin LCD_G4_Pin
                           LCD_G1_Pin LCD_G3_Pin LCD_G0_Pin LCD_G2_Pin
                           LCD_R7_Pin LCD_R5_Pin LCD_R6_Pin LCD_R4_Pin
                           LCD_R3_Pin LCD_R1_Pin LCD_R2_Pin */
  GPIO_InitStruct.Pin = LCD_B1_Pin|LCD_B2_Pin|LCD_B3_Pin|LCD_G4_Pin
                          |LCD_G1_Pin|LCD_G3_Pin|LCD_G0_Pin|LCD_G2_Pin
                          |LCD_R7_Pin|LCD_R5_Pin|LCD_R6_Pin|LCD_R4_Pin
                          |LCD_R3_Pin|LCD_R1_Pin|LCD_R2_Pin;
  GPIO_InitStruct.Mode = GPIO_MODE_AF_PP;
  GPIO_InitStruct.Pull = GPIO_NOPULL;
  GPIO_InitStruct.Speed = GPIO_SPEED_FREQ_LOW;
  GPIO_InitStruct.Alternate = GPIO_AF14_LTDC;
  HAL_GPIO_Init(GPIOJ, &GPIO_InitStruct);

  /*Configure GPIO pin : OTG_FS_VBUS_Pin */
  GPIO_InitStruct.Pin = OTG_FS_VBUS_Pin;
  GPIO_InitStruct.Mode = GPIO_MODE_INPUT;
  GPIO_InitStruct.Pull = GPIO_NOPULL;
  HAL_GPIO_Init(OTG_FS_VBUS_GPIO_Port, &GPIO_InitStruct);

  /*Configure GPIO pin : Audio_INT_Pin */
  GPIO_InitStruct.Pin = Audio_INT_Pin;
  GPIO_InitStruct.Mode = GPIO_MODE_EVT_RISING;
  GPIO_InitStruct.Pull = GPIO_NOPULL;
  HAL_GPIO_Init(Audio_INT_GPIO_Port, &GPIO_InitStruct);

  /*Configure GPIO pins : FMC_D2_Pin FMC_D3_Pin FMC_D1_Pin FMC_D15_Pin
                           FMC_D0_Pin FMC_D14_Pin FMC_D13_Pin */
  GPIO_InitStruct.Pin = FMC_D2_Pin|FMC_D3_Pin|FMC_D1_Pin|FMC_D15_Pin
                          |FMC_D0_Pin|FMC_D14_Pin|FMC_D13_Pin;
  GPIO_InitStruct.Mode = GPIO_MODE_AF_PP;
  GPIO_InitStruct.Pull = GPIO_NOPULL;
  GPIO_InitStruct.Speed = GPIO_SPEED_FREQ_VERY_HIGH;
  GPIO_InitStruct.Alternate = GPIO_AF12_FMC;
  HAL_GPIO_Init(GPIOD, &GPIO_InitStruct);

  /*Configure GPIO pins : OTG_FS_P_Pin OTG_FS_N_Pin OTG_FS_ID_Pin */
  GPIO_InitStruct.Pin = OTG_FS_P_Pin|OTG_FS_N_Pin|OTG_FS_ID_Pin;
  GPIO_InitStruct.Mode = GPIO_MODE_AF_PP;
  GPIO_InitStruct.Pull = GPIO_NOPULL;
  GPIO_InitStruct.Speed = GPIO_SPEED_FREQ_VERY_HIGH;
  GPIO_InitStruct.Alternate = GPIO_AF10_OTG_FS;
  HAL_GPIO_Init(GPIOA, &GPIO_InitStruct);

  /*Configure GPIO pins : SAI2_MCLKA_Pin SAI2_SCKA_Pin SAI2_FSA_Pin SAI2_SDA_Pin */
  GPIO_InitStruct.Pin = SAI2_MCLKA_Pin|SAI2_SCKA_Pin|SAI2_FSA_Pin|SAI2_SDA_Pin;
  GPIO_InitStruct.Mode = GPIO_MODE_AF_PP;
  GPIO_InitStruct.Pull = GPIO_NOPULL;
  GPIO_InitStruct.Speed = GPIO_SPEED_FREQ_LOW;
  GPIO_InitStruct.Alternate = GPIO_AF10_SAI2;
  HAL_GPIO_Init(GPIOI, &GPIO_InitStruct);

  /*Configure GPIO pins : LCD_DE_Pin LCD_B7_Pin LCD_B6_Pin LCD_B5_Pin
                           LCD_G6_Pin LCD_G7_Pin LCD_G5_Pin */
  GPIO_InitStruct.Pin = LCD_DE_Pin|LCD_B7_Pin|LCD_B6_Pin|LCD_B5_Pin
                          |LCD_G6_Pin|LCD_G7_Pin|LCD_G5_Pin;
  GPIO_InitStruct.Mode = GPIO_MODE_AF_PP;
  GPIO_InitStruct.Pull = GPIO_NOPULL;
  GPIO_InitStruct.Speed = GPIO_SPEED_FREQ_LOW;
  GPIO_InitStruct.Alternate = GPIO_AF14_LTDC;
  HAL_GPIO_Init(GPIOK, &GPIO_InitStruct);

  /*Configure GPIO pin : LCD_B4_Pin */
  GPIO_InitStruct.Pin = LCD_B4_Pin;
  GPIO_InitStruct.Mode = GPIO_MODE_AF_PP;
  GPIO_InitStruct.Pull = GPIO_NOPULL;
  GPIO_InitStruct.Speed = GPIO_SPEED_FREQ_LOW;
  GPIO_InitStruct.Alternate = GPIO_AF9_LTDC;
  HAL_GPIO_Init(LCD_B4_GPIO_Port, &GPIO_InitStruct);

  /*Configure GPIO pin : SAI2_SDB_Pin */
  GPIO_InitStruct.Pin = SAI2_SDB_Pin;
  GPIO_InitStruct.Mode = GPIO_MODE_AF_PP;
  GPIO_InitStruct.Pull = GPIO_NOPULL;
  GPIO_InitStruct.Speed = GPIO_SPEED_FREQ_LOW;
  GPIO_InitStruct.Alternate = GPIO_AF10_SAI2;
  HAL_GPIO_Init(SAI2_SDB_GPIO_Port, &GPIO_InitStruct);

  /*Configure GPIO pin : OTG_FS_PowerSwitchOn_Pin */
  GPIO_InitStruct.Pin = OTG_FS_PowerSwitchOn_Pin;
  GPIO_InitStruct.Mode = GPIO_MODE_OUTPUT_PP;
  GPIO_InitStruct.Pull = GPIO_NOPULL;
  GPIO_InitStruct.Speed = GPIO_SPEED_FREQ_LOW;
  HAL_GPIO_Init(OTG_FS_PowerSwitchOn_GPIO_Port, &GPIO_InitStruct);

  /*Configure GPIO pin : DCMI_D5_Pin */
  GPIO_InitStruct.Pin = DCMI_D5_Pin;
  GPIO_InitStruct.Mode = GPIO_MODE_AF_PP;
  GPIO_InitStruct.Pull = GPIO_NOPULL;
  GPIO_InitStruct.Speed = GPIO_SPEED_FREQ_LOW;
  GPIO_InitStruct.Alternate = GPIO_AF13_DCMI;
  HAL_GPIO_Init(DCMI_D5_GPIO_Port, &GPIO_InitStruct);

  /*Configure GPIO pins : ARDUINO_D7_Pin ARDUINO_D8_Pin LCD_DISP_Pin */
  GPIO_InitStruct.Pin = ARDUINO_D7_Pin|ARDUINO_D8_Pin|LCD_DISP_Pin;
  GPIO_InitStruct.Mode = GPIO_MODE_OUTPUT_PP;
  GPIO_InitStruct.Pull = GPIO_NOPULL;
  GPIO_InitStruct.Speed = GPIO_SPEED_FREQ_LOW;
  HAL_GPIO_Init(GPIOI, &GPIO_InitStruct);

  /*Configure GPIO pin : uSD_Detect_Pin */
  GPIO_InitStruct.Pin = uSD_Detect_Pin;
  GPIO_InitStruct.Mode = GPIO_MODE_INPUT;
  GPIO_InitStruct.Pull = GPIO_NOPULL;
  HAL_GPIO_Init(uSD_Detect_GPIO_Port, &GPIO_InitStruct);

  /*Configure GPIO pins : FMC_A0_Pin FMC_A1_Pin FMC_A2_Pin FMC_A3_Pin
                           FMC_A4_Pin FMC_A5_Pin FMC_A6_Pin FMC_A9_Pin
                           FMC_A7_Pin FMC_A8_Pin FMC_SDNRAS_Pin */
  GPIO_InitStruct.Pin = FMC_A0_Pin|FMC_A1_Pin|FMC_A2_Pin|FMC_A3_Pin
                          |FMC_A4_Pin|FMC_A5_Pin|FMC_A6_Pin|FMC_A9_Pin
                          |FMC_A7_Pin|FMC_A8_Pin|FMC_SDNRAS_Pin;
  GPIO_InitStruct.Mode = GPIO_MODE_AF_PP;
  GPIO_InitStruct.Pull = GPIO_NOPULL;
  GPIO_InitStruct.Speed = GPIO_SPEED_FREQ_VERY_HIGH;
  GPIO_InitStruct.Alternate = GPIO_AF12_FMC;
  HAL_GPIO_Init(GPIOF, &GPIO_InitStruct);

  /*Configure GPIO pins : LCD_HSYNC_Pin LCD_VSYNC_Pin LCD_R0_Pin LCD_CLK_Pin */
  GPIO_InitStruct.Pin = LCD_HSYNC_Pin|LCD_VSYNC_Pin|LCD_R0_Pin|LCD_CLK_Pin;
  GPIO_InitStruct.Mode = GPIO_MODE_AF_PP;
  GPIO_InitStruct.Pull = GPIO_NOPULL;
  GPIO_InitStruct.Speed = GPIO_SPEED_FREQ_LOW;
  GPIO_InitStruct.Alternate = GPIO_AF14_LTDC;
  HAL_GPIO_Init(GPIOI, &GPIO_InitStruct);

  /*Configure GPIO pin : LCD_BL_CTRL_Pin */
  GPIO_InitStruct.Pin = LCD_BL_CTRL_Pin;
  GPIO_InitStruct.Mode = GPIO_MODE_OUTPUT_PP;
  GPIO_InitStruct.Pull = GPIO_NOPULL;
  GPIO_InitStruct.Speed = GPIO_SPEED_FREQ_LOW;
  HAL_GPIO_Init(LCD_BL_CTRL_GPIO_Port, &GPIO_InitStruct);

  /*Configure GPIO pin : DCMI_VSYNC_Pin */
  GPIO_InitStruct.Pin = DCMI_VSYNC_Pin;
  GPIO_InitStruct.Mode = GPIO_MODE_AF_PP;
  GPIO_InitStruct.Pull = GPIO_NOPULL;
  GPIO_InitStruct.Speed = GPIO_SPEED_FREQ_LOW;
  GPIO_InitStruct.Alternate = GPIO_AF13_DCMI;
  HAL_GPIO_Init(DCMI_VSYNC_GPIO_Port, &GPIO_InitStruct);

  /*Configure GPIO pin : OTG_FS_OverCurrent_Pin */
  GPIO_InitStruct.Pin = OTG_FS_OverCurrent_Pin;
  GPIO_InitStruct.Mode = GPIO_MODE_INPUT;
  GPIO_InitStruct.Pull = GPIO_NOPULL;
  HAL_GPIO_Init(OTG_FS_OverCurrent_GPIO_Port, &GPIO_InitStruct);

  /*Configure GPIO pin : SDMMC_D0_Pin */
  GPIO_InitStruct.Pin = SDMMC_D0_Pin;
  GPIO_InitStruct.Mode = GPIO_MODE_AF_PP;
  GPIO_InitStruct.Pull = GPIO_NOPULL;
  GPIO_InitStruct.Speed = GPIO_SPEED_FREQ_VERY_HIGH;
  GPIO_InitStruct.Alternate = GPIO_AF12_SDMMC1;
  HAL_GPIO_Init(SDMMC_D0_GPIO_Port, &GPIO_InitStruct);

  /*Configure GPIO pins : TP3_Pin NC2_Pin */
  GPIO_InitStruct.Pin = TP3_Pin|NC2_Pin;
  GPIO_InitStruct.Mode = GPIO_MODE_INPUT;
  GPIO_InitStruct.Pull = GPIO_NOPULL;
  HAL_GPIO_Init(GPIOH, &GPIO_InitStruct);

  /*Configure GPIO pin : ARDUINO_SCK_D13_Pin */
  GPIO_InitStruct.Pin = ARDUINO_SCK_D13_Pin;
  GPIO_InitStruct.Mode = GPIO_MODE_AF_PP;
  GPIO_InitStruct.Pull = GPIO_NOPULL;
  GPIO_InitStruct.Speed = GPIO_SPEED_FREQ_LOW;
  GPIO_InitStruct.Alternate = GPIO_AF5_SPI2;
  HAL_GPIO_Init(ARDUINO_SCK_D13_GPIO_Port, &GPIO_InitStruct);

  /*Configure GPIO pin : DCMI_PWR_EN_Pin */
  GPIO_InitStruct.Pin = DCMI_PWR_EN_Pin;
  GPIO_InitStruct.Mode = GPIO_MODE_OUTPUT_PP;
  GPIO_InitStruct.Pull = GPIO_NOPULL;
  GPIO_InitStruct.Speed = GPIO_SPEED_FREQ_LOW;
  HAL_GPIO_Init(DCMI_PWR_EN_GPIO_Port, &GPIO_InitStruct);

  /*Configure GPIO pins : DCMI_D4_Pin DCMI_D3_Pin DCMI_D0_Pin DCMI_D2_Pin
                           DCMI_D1_Pin */
  GPIO_InitStruct.Pin = DCMI_D4_Pin|DCMI_D3_Pin|DCMI_D0_Pin|DCMI_D2_Pin
                          |DCMI_D1_Pin;
  GPIO_InitStruct.Mode = GPIO_MODE_AF_PP;
  GPIO_InitStruct.Pull = GPIO_NOPULL;
  GPIO_InitStruct.Speed = GPIO_SPEED_FREQ_LOW;
  GPIO_InitStruct.Alternate = GPIO_AF13_DCMI;
  HAL_GPIO_Init(GPIOH, &GPIO_InitStruct);

  /*Configure GPIO pin : ARDUINO_PWM_CS_D5_Pin */
  GPIO_InitStruct.Pin = ARDUINO_PWM_CS_D5_Pin;
  GPIO_InitStruct.Mode = GPIO_MODE_AF_PP;
  GPIO_InitStruct.Pull = GPIO_NOPULL;
  GPIO_InitStruct.Speed = GPIO_SPEED_FREQ_LOW;
  GPIO_InitStruct.Alternate = GPIO_AF2_TIM5;
  HAL_GPIO_Init(ARDUINO_PWM_CS_D5_GPIO_Port, &GPIO_InitStruct);

  /*Configure GPIO pin : ARDUINO_PWM_D10_Pin */
  GPIO_InitStruct.Pin = ARDUINO_PWM_D10_Pin;
  GPIO_InitStruct.Mode = GPIO_MODE_AF_PP;
  GPIO_InitStruct.Pull = GPIO_NOPULL;
  GPIO_InitStruct.Speed = GPIO_SPEED_FREQ_LOW;
  GPIO_InitStruct.Alternate = GPIO_AF1_TIM1;
  HAL_GPIO_Init(ARDUINO_PWM_D10_GPIO_Port, &GPIO_InitStruct);

  /*Configure GPIO pin : LCD_INT_Pin */
  GPIO_InitStruct.Pin = LCD_INT_Pin;
  GPIO_InitStruct.Mode = GPIO_MODE_EVT_RISING;
  GPIO_InitStruct.Pull = GPIO_NOPULL;
  HAL_GPIO_Init(LCD_INT_GPIO_Port, &GPIO_InitStruct);

  /*Configure GPIO pins : ARDUINO_RX_D0_Pin ARDUINO_TX_D1_Pin */
  GPIO_InitStruct.Pin = ARDUINO_RX_D0_Pin|ARDUINO_TX_D1_Pin;
  GPIO_InitStruct.Mode = GPIO_MODE_AF_PP;
  GPIO_InitStruct.Pull = GPIO_NOPULL;
  GPIO_InitStruct.Speed = GPIO_SPEED_FREQ_VERY_HIGH;
  GPIO_InitStruct.Alternate = GPIO_AF8_USART6;
  HAL_GPIO_Init(GPIOC, &GPIO_InitStruct);

  /*Configure GPIO pin : ULPI_NXT_Pin */
  GPIO_InitStruct.Pin = ULPI_NXT_Pin;
  GPIO_InitStruct.Mode = GPIO_MODE_AF_PP;
  GPIO_InitStruct.Pull = GPIO_NOPULL;
  GPIO_InitStruct.Speed = GPIO_SPEED_FREQ_VERY_HIGH;
  GPIO_InitStruct.Alternate = GPIO_AF10_OTG_HS;
  HAL_GPIO_Init(ULPI_NXT_GPIO_Port, &GPIO_InitStruct);

  /*Configure GPIO pins : FMC_SDNME_Pin FMC_SDNE0_Pin */
  GPIO_InitStruct.Pin = FMC_SDNME_Pin|FMC_SDNE0_Pin;
  GPIO_InitStruct.Mode = GPIO_MODE_AF_PP;
  GPIO_InitStruct.Pull = GPIO_NOPULL;
  GPIO_InitStruct.Speed = GPIO_SPEED_FREQ_VERY_HIGH;
  GPIO_InitStruct.Alternate = GPIO_AF12_FMC;
  HAL_GPIO_Init(GPIOH, &GPIO_InitStruct);

  /*Configure GPIO pins : ARDUINO_D4_Pin ARDUINO_D2_Pin EXT_RST_Pin */
  GPIO_InitStruct.Pin = ARDUINO_D4_Pin|ARDUINO_D2_Pin|EXT_RST_Pin;
  GPIO_InitStruct.Mode = GPIO_MODE_OUTPUT_PP;
  GPIO_InitStruct.Pull = GPIO_NOPULL;
  GPIO_InitStruct.Speed = GPIO_SPEED_FREQ_LOW;
  HAL_GPIO_Init(GPIOG, &GPIO_InitStruct);

  /*Configure GPIO pins : ARDUINO_A4_Pin ARDUINO_A5_Pin ARDUINO_A1_Pin ARDUINO_A2_Pin
                           ARDUINO_A3_Pin */
  GPIO_InitStruct.Pin = ARDUINO_A4_Pin|ARDUINO_A5_Pin|ARDUINO_A1_Pin|ARDUINO_A2_Pin
                          |ARDUINO_A3_Pin;
  GPIO_InitStruct.Mode = GPIO_MODE_ANALOG;
  GPIO_InitStruct.Pull = GPIO_NOPULL;
  HAL_GPIO_Init(GPIOF, &GPIO_InitStruct);

  /*Configure GPIO pin : FMC_SDCKE0_Pin */
  GPIO_InitStruct.Pin = FMC_SDCKE0_Pin;
  GPIO_InitStruct.Mode = GPIO_MODE_AF_PP;
  GPIO_InitStruct.Pull = GPIO_NOPULL;
  GPIO_InitStruct.Speed = GPIO_SPEED_FREQ_VERY_HIGH;
  GPIO_InitStruct.Alternate = GPIO_AF12_FMC;
  HAL_GPIO_Init(FMC_SDCKE0_GPIO_Port, &GPIO_InitStruct);

  /*Configure GPIO pins : ULPI_STP_Pin ULPI_DIR_Pin */
  GPIO_InitStruct.Pin = ULPI_STP_Pin|ULPI_DIR_Pin;
  GPIO_InitStruct.Mode = GPIO_MODE_AF_PP;
  GPIO_InitStruct.Pull = GPIO_NOPULL;
  GPIO_InitStruct.Speed = GPIO_SPEED_FREQ_VERY_HIGH;
  GPIO_InitStruct.Alternate = GPIO_AF10_OTG_HS;
  HAL_GPIO_Init(GPIOC, &GPIO_InitStruct);

  /*Configure GPIO pins : RMII_MDC_Pin RMII_RXD0_Pin RMII_RXD1_Pin */
  GPIO_InitStruct.Pin = RMII_MDC_Pin|RMII_RXD0_Pin|RMII_RXD1_Pin;
  GPIO_InitStruct.Mode = GPIO_MODE_AF_PP;
  GPIO_InitStruct.Pull = GPIO_NOPULL;
  GPIO_InitStruct.Speed = GPIO_SPEED_FREQ_VERY_HIGH;
  GPIO_InitStruct.Alternate = GPIO_AF11_ETH;
  HAL_GPIO_Init(GPIOC, &GPIO_InitStruct);

  /*Configure GPIO pin : PB2 */
  GPIO_InitStruct.Pin = GPIO_PIN_2;
  GPIO_InitStruct.Mode = GPIO_MODE_AF_PP;
  GPIO_InitStruct.Pull = GPIO_NOPULL;
  GPIO_InitStruct.Speed = GPIO_SPEED_FREQ_VERY_HIGH;
  GPIO_InitStruct.Alternate = GPIO_AF9_QUADSPI;
  HAL_GPIO_Init(GPIOB, &GPIO_InitStruct);

  /*Configure GPIO pins : QSPI_D1_Pin QSPI_D3_Pin QSPI_D0_Pin */
  GPIO_InitStruct.Pin = QSPI_D1_Pin|QSPI_D3_Pin|QSPI_D0_Pin;
  GPIO_InitStruct.Mode = GPIO_MODE_AF_PP;
  GPIO_InitStruct.Pull = GPIO_NOPULL;
  GPIO_InitStruct.Speed = GPIO_SPEED_FREQ_VERY_HIGH;
  GPIO_InitStruct.Alternate = GPIO_AF9_QUADSPI;
  HAL_GPIO_Init(GPIOD, &GPIO_InitStruct);

  /*Configure GPIO pin : RMII_RXER_Pin */
  GPIO_InitStruct.Pin = RMII_RXER_Pin;
  GPIO_InitStruct.Mode = GPIO_MODE_INPUT;
  GPIO_InitStruct.Pull = GPIO_NOPULL;
  HAL_GPIO_Init(RMII_RXER_GPIO_Port, &GPIO_InitStruct);

  /*Configure GPIO pins : RMII_REF_CLK_Pin RMII_MDIO_Pin RMII_CRS_DV_Pin */
  GPIO_InitStruct.Pin = RMII_REF_CLK_Pin|RMII_MDIO_Pin|RMII_CRS_DV_Pin;
  GPIO_InitStruct.Mode = GPIO_MODE_AF_PP;
  GPIO_InitStruct.Pull = GPIO_NOPULL;
  GPIO_InitStruct.Speed = GPIO_SPEED_FREQ_VERY_HIGH;
  GPIO_InitStruct.Alternate = GPIO_AF11_ETH;
  HAL_GPIO_Init(GPIOA, &GPIO_InitStruct);

  /*Configure GPIO pin : ARDUINO_A0_Pin */
  GPIO_InitStruct.Pin = ARDUINO_A0_Pin;
  GPIO_InitStruct.Mode = GPIO_MODE_ANALOG;
  GPIO_InitStruct.Pull = GPIO_NOPULL;
  HAL_GPIO_Init(ARDUINO_A0_GPIO_Port, &GPIO_InitStruct);

  /*Configure GPIO pins : DCMI_HSYNC_Pin PA6 */
  GPIO_InitStruct.Pin = DCMI_HSYNC_Pin|GPIO_PIN_6;
  GPIO_InitStruct.Mode = GPIO_MODE_AF_PP;
  GPIO_InitStruct.Pull = GPIO_NOPULL;
  GPIO_InitStruct.Speed = GPIO_SPEED_FREQ_LOW;
  GPIO_InitStruct.Alternate = GPIO_AF13_DCMI;
  HAL_GPIO_Init(GPIOA, &GPIO_InitStruct);

  /*Configure GPIO pins : LCD_SCL_Pin LCD_SDA_Pin */
  GPIO_InitStruct.Pin = LCD_SCL_Pin|LCD_SDA_Pin;
  GPIO_InitStruct.Mode = GPIO_MODE_AF_OD;
  GPIO_InitStruct.Pull = GPIO_NOPULL;
  GPIO_InitStruct.Speed = GPIO_SPEED_FREQ_VERY_HIGH;
  GPIO_InitStruct.Alternate = GPIO_AF4_I2C3;
  HAL_GPIO_Init(GPIOH, &GPIO_InitStruct);

  /*Configure GPIO pins : ULPI_CLK_Pin ULPI_D0_Pin */
  GPIO_InitStruct.Pin = ULPI_CLK_Pin|ULPI_D0_Pin;
  GPIO_InitStruct.Mode = GPIO_MODE_AF_PP;
  GPIO_InitStruct.Pull = GPIO_NOPULL;
  GPIO_InitStruct.Speed = GPIO_SPEED_FREQ_VERY_HIGH;
  GPIO_InitStruct.Alternate = GPIO_AF10_OTG_HS;
  HAL_GPIO_Init(GPIOA, &GPIO_InitStruct);

  /*Configure GPIO pin : ARDUINO_PWM_D6_Pin */
  GPIO_InitStruct.Pin = ARDUINO_PWM_D6_Pin;
  GPIO_InitStruct.Mode = GPIO_MODE_AF_PP;
  GPIO_InitStruct.Pull = GPIO_NOPULL;
  GPIO_InitStruct.Speed = GPIO_SPEED_FREQ_LOW;
  GPIO_InitStruct.Alternate = GPIO_AF9_TIM12;
  HAL_GPIO_Init(ARDUINO_PWM_D6_GPIO_Port, &GPIO_InitStruct);

  /*Configure GPIO pins : ARDUINO_MISO_D12_Pin ARDUINO_MOSI_PWM_D11_Pin */
  GPIO_InitStruct.Pin = ARDUINO_MISO_D12_Pin|ARDUINO_MOSI_PWM_D11_Pin;
  GPIO_InitStruct.Mode = GPIO_MODE_AF_PP;
  GPIO_InitStruct.Pull = GPIO_NOPULL;
  GPIO_InitStruct.Speed = GPIO_SPEED_FREQ_LOW;
  GPIO_InitStruct.Alternate = GPIO_AF5_SPI2;
  HAL_GPIO_Init(GPIOB, &GPIO_InitStruct);

}

void Error_Handler(void)
{
  __disable_irq();
  while (1)
  {
  }
}
